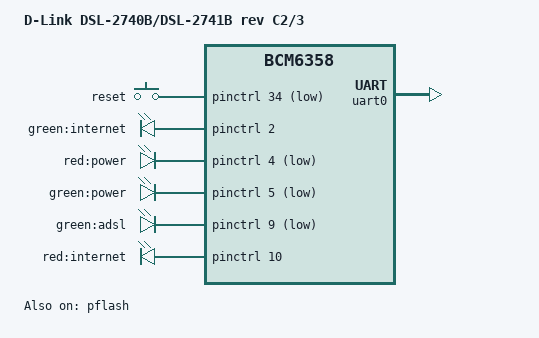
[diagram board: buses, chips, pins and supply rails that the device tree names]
#include "bcm6358.dtsi"

#include <dt-bindings/input/input.h>

/ {
	model = "D-Link DSL-2740B/DSL-2741B rev C2/3";
	compatible = "d-link,dsl-274xb-c2", "brcm,bcm6358";

	aliases {
		led-boot = &led_power_green;
		led-failsafe = &led_power_green;
		led-running = &led_power_green;
		led-upgrade = &led_power_green;
	};

	chosen {
		bootargs = "rootfstype=squashfs,jffs2 noinitrd console=ttyS0,115200";
		stdout-path = "serial0:115200n8";
	};

	keys {
		compatible = "gpio-keys-polled";
		#address-cells = <1>;
		#size-cells = <0>;
		poll-interval = <20>;

		reset {
			label = "reset";
			gpios = <&pinctrl 34 1>;
			linux,code = <KEY_RESTART>;
			debounce-interval = <60>;
		};
	};

	leds {
		compatible = "gpio-leds";

		inet_green {
			label = "green:internet";
			gpios = <&pinctrl 2 0>;
		};
		power_red {
			label = "red:power";
			gpios = <&pinctrl 4 1>;
		};
		led_power_green: power_green {
			label = "green:power";
			gpios = <&pinctrl 5 1>;
			default-state = "on";
		};
		dsl_green {
			label = "green:adsl";
			gpios = <&pinctrl 9 1>;
		};
		inet_red {
			label = "red:internet";
			gpios = <&pinctrl 10 0>;
		};
	};
};

&pflash {
	status = "okay";

	partitions {
		compatible = "fixed-partitions";
		#address-cells = <1>;
		#size-cells = <1>;

		cfe@0 {
			label = "CFE";
			reg = <0x000000 0x010000>;
			read-only;
		};

		linux@10000 {
			label = "linux";
			reg = <0x010000 0x3e0000>;
			compatible = "brcm,bcm963xx-imagetag";
		};

		nvram@3f0000 {
			label = "nvram";
			reg = <0x3f0000 0x010000>;
		};
	};
};

&uart0 {
	status = "okay";
};
